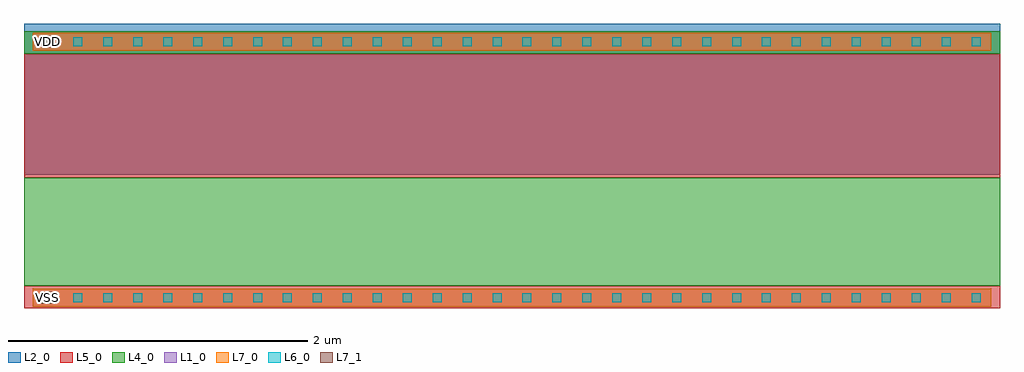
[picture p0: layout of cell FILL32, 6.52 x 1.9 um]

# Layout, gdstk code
import gdstk
lib = gdstk.Library(unit=1e-6, precision=5e-10)
def R(c, l, rs):  # rectangles x0, y0, x1, y1
    for r in rs: c.add(gdstk.rectangle(r[:2], r[2:], *l))
def A(c, l, x, y, w, h, nx, ny, dx, dy):  # array of equal rectangles
    R(c, l, [(x+i*dx, y+j*dy, x+i*dx+w, y+j*dy+h) for i in range(nx) for j in range(ny)])
L1_0 = (1, 0)
L2_0 = (2, 0)
L4_0 = (4, 0)
L5_0 = (5, 0)
L6_0 = (6, 0)
L7_0 = (7, 0)
L7_1 = (7, 1)

fill32 = lib.new_cell('FILL32')
R(fill32, L1_0, [(0,-0.06,6.4,0.06), (0,1.65,6.4,1.77)])
R(fill32, L2_0, [(-0.06,0.82,6.46,1.83)])
R(fill32, L4_0, [(-0.06,0.08,6.46,0.8), (-0.06,1.63,6.46,1.78)])
R(fill32, L5_0, [(-0.06,-0.07,6.46,0.08), (-0.06,0.8,6.46,1.63)])
A(fill32, L6_0, 0.07, -0.03, 0.06, 0.06, 32, 2, 0.2, 1.71)
R(fill32, L7_0, [(0,-0.06,6.4,0.06), (0,1.65,6.4,1.77)])
R(fill32, L7_1, [(0.06,-0.04,0.14,0.04), (0.06,1.67,0.14,1.75)])
fill32.add(gdstk.Label('VSS', (0.1,0), layer=7, texttype=1))
fill32.add(gdstk.Label('VDD', (0.1,1.71), layer=7, texttype=1))
fill32.add(gdstk.Label('VDD', (0.09,1.7), layer=63, texttype=0))
fill32.add(gdstk.Label('VSS', (0.085,0), layer=63, texttype=0))

lib.write_gds('FILL32.gds')
